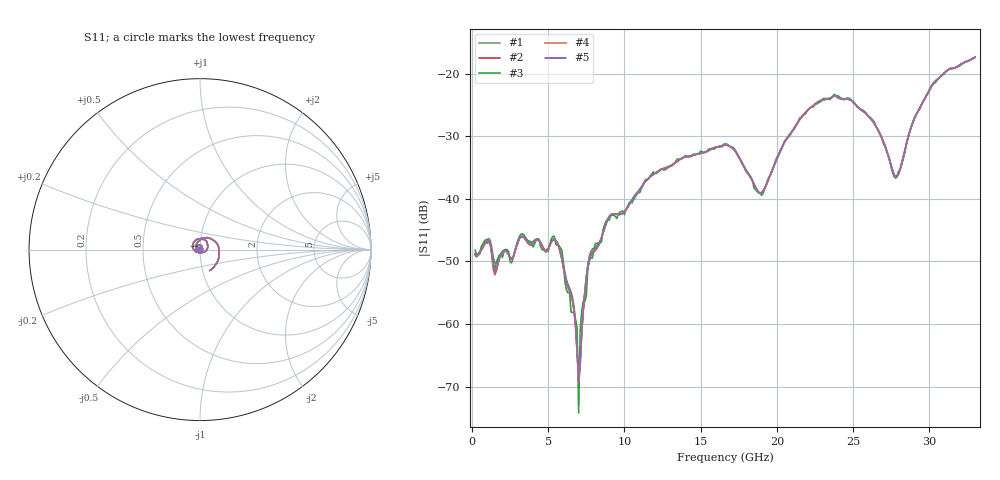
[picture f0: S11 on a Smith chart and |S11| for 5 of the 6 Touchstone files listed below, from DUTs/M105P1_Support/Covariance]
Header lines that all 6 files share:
# GHZ S RI R 50
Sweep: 200 MHz to 33 GHz
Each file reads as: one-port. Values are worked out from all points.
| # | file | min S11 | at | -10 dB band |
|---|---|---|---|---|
| 1 | M105P1_1.s2p | -68.6 dB | 7 GHz | over 32.8 GHz wide |
| 2 | M105P1_2.s2p | -68.1 dB | 7 GHz | over 32.8 GHz wide |
| 3 | M105P1_3.s2p | -74.2 dB | 7 GHz | over 32.8 GHz wide |
| 4 | M105P1_4.s2p | -69.4 dB | 7 GHz | over 32.8 GHz wide |
| 5 | M105P1_6.s2p | -69.1 dB | 7 GHz | over 32.8 GHz wide |
| 6 | M105P1_15.s2p | -69.1 dB | 7 GHz | over 32.8 GHz wide |
